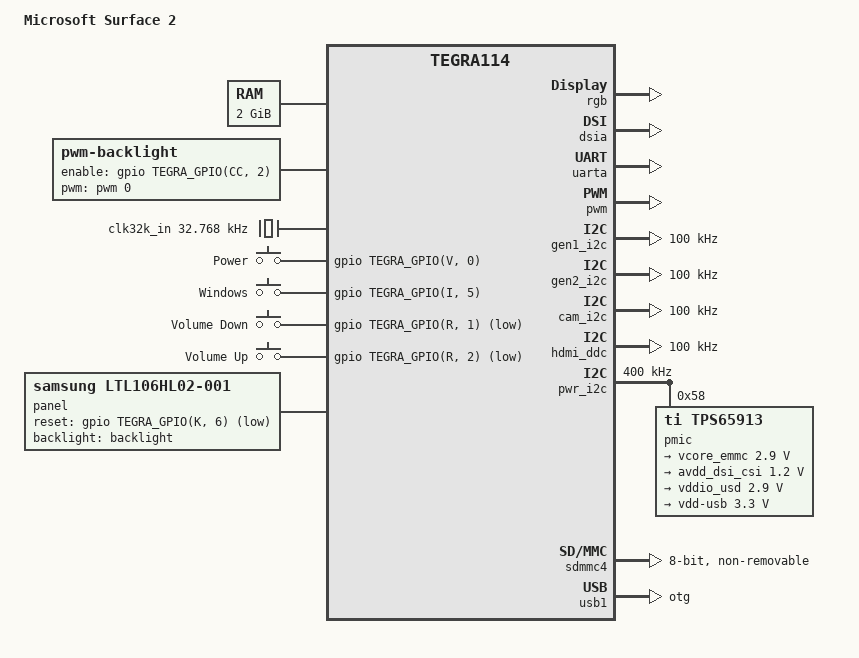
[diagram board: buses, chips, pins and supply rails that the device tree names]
/dts-v1/;

#include <dt-bindings/input/input.h>

#include "tegra114.dtsi"

/ {
	model = "Microsoft Surface 2";
	compatible = "microsoft,surface-2", "nvidia,tegra114";

	chosen {
		stdout-path = &uarta;
	};

	aliases {
		i2c0 = &gen1_i2c;
		i2c1 = &gen2_i2c;
		i2c2 = &cam_i2c;
		i2c3 = &hdmi_ddc;
		i2c4 = &pwr_i2c;

		mmc0 = &sdmmc4; /* eMMC */
		mmc1 = &sdmmc3; /* uSD slot */

		usb0 = &usb1;
	};

	memory {
		device_type = "memory";
		reg = <0x80000000 0x80000000>;
	};

	host1x@50000000 {
		dc@54200000 {
			clocks = <&tegra_car TEGRA114_CLK_DISP1>,
				 <&tegra_car TEGRA114_CLK_PLL_D_OUT0>;

			rgb {
				status = "okay";

				nvidia,panel = <&dsia>;
			};
		};

		dsia: dsi@54300000 {
			clocks = <&tegra_car TEGRA114_CLK_DSIA>;
			status = "okay";

			avdd-dsi-csi-supply = <&avdd_dsi_csi>;

			panel = <&panel>;
		};
	};

	uarta: serial@70006000 {
		status = "okay";
	};

	pwm: pwm@7000a000 {
		status = "okay";
	};

	gen1_i2c: i2c@7000c000 {
		status = "okay";
		clock-frequency = <100000>;
	};

	gen2_i2c: i2c@7000c400 {
		status = "okay";
		clock-frequency = <100000>;
	};

	cam_i2c: i2c@7000c500 {
		status = "okay";
		clock-frequency = <100000>;
	};

	hdmi_ddc: i2c@7000c700 {
		status = "okay";
		clock-frequency = <100000>;
	};

	pwr_i2c: i2c@7000d000 {
		status = "okay";
		clock-frequency = <400000>;
		
		pmic: tps65913@58 {
			compatible = "ti,tps65913", "ti,palmas";
			reg = <0x58>;

			regulators {
				vcore_emmc: smps9 {
					regulator-name = "vdd_sdmmc";
					regulator-min-microvolt = <2900000>;
					regulator-max-microvolt = <2900000>;
				};

				avdd_dsi_csi: ldo2 {
					regulator-name = "avdd_dsi_csi";
					regulator-min-microvolt = <1200000>;
					regulator-max-microvolt = <1200000>;
				};

				vddio_usd: ldo9 {
					regulator-name = "vddio_sdmmc";
					regulator-min-microvolt = <2900000>;
					regulator-max-microvolt = <2900000>;
				};

				ldousb {
					regulator-name = "vdd-usb";
					regulator-min-microvolt = <3300000>;
					regulator-max-microvolt = <3300000>;
				};
			};
		};
	};

	sdmmc3: sdhci@78000400 {
		status = "disabled";
		bus-width = <4>;

		cd-gpios = <&gpio TEGRA_GPIO(V, 2) GPIO_ACTIVE_LOW>;
		power-gpios = <&gpio TEGRA_GPIO(K, 1) GPIO_ACTIVE_HIGH>;

		nvidia,default-tap = <0x3>;
		nvidia,default-trim = <0x3>;

		vmmc-supply = <&vcore_emmc>;
		vqmmc-supply = <&vddio_usd>;
	};

	sdmmc4: sdhci@78000600 {
		status = "okay";
		bus-width = <8>;
		non-removable;
	};

	usb1: usb@7d000000 {
		status = "okay";
		dr_mode = "otg";
	};

	backlight: backlight {
		compatible = "pwm-backlight";

		enable-gpios = <&gpio TEGRA_GPIO(CC, 2) GPIO_ACTIVE_HIGH>;
		pwms = <&pwm 0 1000000>;

		brightness-levels = <1 35 70 105 140 175 210 255>;
		default-brightness-level = <5>;
	};

	clk32k_in: clock-32k {
		compatible = "fixed-clock";
		#clock-cells = <0>;
		clock-frequency = <32768>;
		clock-output-names = "ref-oscillator";
	};

	gpio-keys {
		compatible = "gpio-keys";

		key-power {
			label = "Power";
			gpios = <&gpio TEGRA_GPIO(V, 0) GPIO_ACTIVE_HIGH>;
			linux,code = <KEY_ENTER>;
		};

		key-windows {
			label = "Windows";
			gpios = <&gpio TEGRA_GPIO(I, 5) GPIO_ACTIVE_HIGH>;
			linux,code = <KEY_ENTER>;
		};

		key-volume-down {
			label = "Volume Down";
			gpios = <&gpio TEGRA_GPIO(R, 1) GPIO_ACTIVE_LOW>;
			linux,code = <KEY_DOWN>;
		};

		key-volume-up {
			label = "Volume Up";
			gpios = <&gpio TEGRA_GPIO(R, 2) GPIO_ACTIVE_LOW>;
			linux,code = <KEY_UP>;
		};
	};

	panel: panel {
		compatible = "samsung,ltl106hl02-001";

		reset-gpios = <&gpio TEGRA_GPIO(K, 6) GPIO_ACTIVE_LOW>;
		//vdd-supply = <&tps65090_fet4>;

		backlight = <&backlight>;
	};
};
